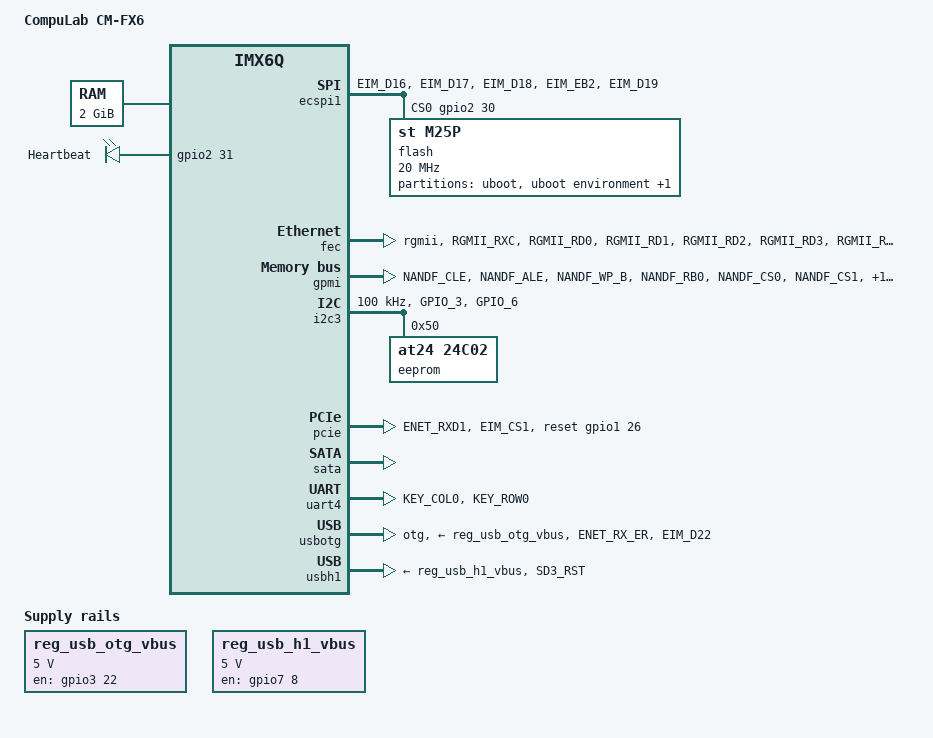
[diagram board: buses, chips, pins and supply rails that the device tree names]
/*
 * Copyright 2013 CompuLab Ltd.
 *
 * Author: Valentin Raevsky <valentin@compulab.co.il>
 *
 * The code contained herein is licensed under the GNU General Public
 * License. You may obtain a copy of the GNU General Public License
 * Version 2 or later at the following locations:
 *
 * http://www.opensource.org/licenses/gpl-license.html
 * http://www.gnu.org/copyleft/gpl.html
 */

/dts-v1/;
#include "imx6q.dtsi"

/ {
	model = "CompuLab CM-FX6";
	compatible = "compulab,cm-fx6", "fsl,imx6q";

	memory {
		reg = <0x10000000 0x80000000>;
	};

	leds {
		compatible = "gpio-leds";

		heartbeat-led {
			label = "Heartbeat";
			gpios = <&gpio2 31 0>;
			linux,default-trigger = "heartbeat";
		};
	};

	regulators {
		compatible = "simple-bus";
		#address-cells = <1>;
		#size-cells = <0>;

		reg_usb_otg_vbus: usb_otg_vbus {
			compatible = "regulator-fixed";
			regulator-name = "usb_otg_vbus";
			regulator-min-microvolt = <5000000>;
			regulator-max-microvolt = <5000000>;
			gpio = <&gpio3 22 0>;
			enable-active-high;
		};

		reg_usb_h1_vbus: usb_h1_vbus {
			compatible = "regulator-fixed";
			regulator-name = "usb_h1_vbus";
			regulator-min-microvolt = <5000000>;
			regulator-max-microvolt = <5000000>;
			gpio = <&gpio7 8 0>;
			enable-active-high;
		};
	};
};

&ecspi1 {
	fsl,spi-num-chipselects = <2>;
	cs-gpios = <&gpio2 30 0>, <&gpio3 19 0>;
	pinctrl-names = "default";
	pinctrl-0 = <&pinctrl_ecspi1>;
	status = "okay";

	flash: m25p80@0 {
		#address-cells = <1>;
		#size-cells = <1>;
		compatible = "st,m25p", "jedec,spi-nor";
		spi-max-frequency = <20000000>;
		reg = <0>;

		partition@0 {
			label = "uboot";
			reg = <0x0 0xc0000>;
		};

		partition@c0000 {
			label = "uboot environment";
			reg = <0xc0000 0x40000>;
		};

		partition@100000 {
			label = "reserved";
			reg = <0x100000 0x100000>;
		};
	};
};

&fec {
	pinctrl-names = "default";
	pinctrl-0 = <&pinctrl_enet>;
	phy-mode = "rgmii";
	status = "okay";
};

&gpmi {
	pinctrl-names = "default";
	pinctrl-0 = <&pinctrl_gpmi_nand>;
	status = "okay";
};

&i2c3 {
	pinctrl-names = "default";
	pinctrl-0 = <&pinctrl_i2c3>;
	status = "okay";
	clock-frequency = <100000>;

	eeprom@50 {
		compatible = "at24,24c02";
		reg = <0x50>;
		pagesize = <16>;
	};
};

&iomuxc {
	imx6q-cm-fx6 {
		pinctrl_ecspi1: ecspi1grp {
			fsl,pins = <
				MX6QDL_PAD_EIM_D16__ECSPI1_SCLK		 0x100b1
				MX6QDL_PAD_EIM_D17__ECSPI1_MISO		 0x100b1
				MX6QDL_PAD_EIM_D18__ECSPI1_MOSI		 0x100b1
				MX6QDL_PAD_EIM_EB2__GPIO2_IO30		0x100b1
				MX6QDL_PAD_EIM_D19__GPIO3_IO19		0x100b1
			>;
		};

		pinctrl_enet: enetgrp {
			fsl,pins = <
				MX6QDL_PAD_RGMII_RXC__RGMII_RXC		0x1b0b0
				MX6QDL_PAD_RGMII_RD0__RGMII_RD0		0x1b0b0
				MX6QDL_PAD_RGMII_RD1__RGMII_RD1		0x1b0b0
				MX6QDL_PAD_RGMII_RD2__RGMII_RD2		0x1b0b0
				MX6QDL_PAD_RGMII_RD3__RGMII_RD3		0x1b0b0
				MX6QDL_PAD_RGMII_RX_CTL__RGMII_RX_CTL	0x1b0b0
				MX6QDL_PAD_RGMII_TXC__RGMII_TXC		0x1b0b0
				MX6QDL_PAD_RGMII_TD0__RGMII_TD0		0x1b0b0
				MX6QDL_PAD_RGMII_TD1__RGMII_TD1		0x1b0b0
				MX6QDL_PAD_RGMII_TD2__RGMII_TD2		0x1b0b0
				MX6QDL_PAD_RGMII_TD3__RGMII_TD3		0x1b0b0
				MX6QDL_PAD_RGMII_TX_CTL__RGMII_TX_CTL	0x1b0b0
				MX6QDL_PAD_ENET_REF_CLK__ENET_TX_CLK	0x1b0b0
				MX6QDL_PAD_ENET_MDIO__ENET_MDIO		0x1b0b0
				MX6QDL_PAD_ENET_MDC__ENET_MDC		0x1b0b0
				MX6QDL_PAD_GPIO_16__ENET_REF_CLK	0x4001b0a8
			>;
		};

		pinctrl_gpmi_nand: gpminandgrp {
			fsl,pins = <
				MX6QDL_PAD_NANDF_CLE__NAND_CLE		0xb0b1
				MX6QDL_PAD_NANDF_ALE__NAND_ALE		0xb0b1
				MX6QDL_PAD_NANDF_WP_B__NAND_WP_B	0xb0b1
				MX6QDL_PAD_NANDF_RB0__NAND_READY_B	0xb000
				MX6QDL_PAD_NANDF_CS0__NAND_CE0_B	0xb0b1
				MX6QDL_PAD_NANDF_CS1__NAND_CE1_B	0xb0b1
				MX6QDL_PAD_SD4_CMD__NAND_RE_B		0xb0b1
				MX6QDL_PAD_SD4_CLK__NAND_WE_B		0xb0b1
				MX6QDL_PAD_NANDF_D0__NAND_DATA00	0xb0b1
				MX6QDL_PAD_NANDF_D1__NAND_DATA01	0xb0b1
				MX6QDL_PAD_NANDF_D2__NAND_DATA02	0xb0b1
				MX6QDL_PAD_NANDF_D3__NAND_DATA03	0xb0b1
				MX6QDL_PAD_NANDF_D4__NAND_DATA04	0xb0b1
				MX6QDL_PAD_NANDF_D5__NAND_DATA05	0xb0b1
				MX6QDL_PAD_NANDF_D6__NAND_DATA06	0xb0b1
				MX6QDL_PAD_NANDF_D7__NAND_DATA07	0xb0b1
				MX6QDL_PAD_SD4_DAT0__NAND_DQS		0x00b1
			>;
		};

		pinctrl_i2c3: i2c3grp {
			fsl,pins = <
				MX6QDL_PAD_GPIO_3__I2C3_SCL 0x4001b8b1
				MX6QDL_PAD_GPIO_6__I2C3_SDA 0x4001b8b1
			>;
		};

		pinctrl_pcie: pciegrp {
			fsl,pins = <
				MX6QDL_PAD_ENET_RXD1__GPIO1_IO26 0x80000000
				MX6QDL_PAD_EIM_CS1__GPIO2_IO24 0x80000000
			>;
		};

		pinctrl_uart4: uart4grp {
			fsl,pins = <
				MX6QDL_PAD_KEY_COL0__UART4_TX_DATA	0x1b0b1
				MX6QDL_PAD_KEY_ROW0__UART4_RX_DATA	0x1b0b1
			>;
		};

		pinctrl_usbh1: usbh1grp {
			fsl,pins = <
				MX6QDL_PAD_SD3_RST__GPIO7_IO08 0x80000000
			>;
		};

		pinctrl_usbotg: usbotggrp {
			fsl,pins = <
				MX6QDL_PAD_ENET_RX_ER__USB_OTG_ID 0x17059
				MX6QDL_PAD_EIM_D22__GPIO3_IO22 0x80000000
			>;
		};
	};
};

&pcie {
	pinctrl-names = "default";
	pinctrl-0 = <&pinctrl_pcie>;
	reset-gpio = <&gpio1 26 0>;
	power-on-gpio = <&gpio2 24 0>;
	status = "okay";
};

&sata {
	status = "okay";
};

&snvs_poweroff {
	status = "okay";
};

&uart4 {
	pinctrl-names = "default";
	pinctrl-0 = <&pinctrl_uart4>;
	status = "okay";
};

&usbotg {
	vbus-supply = <&reg_usb_otg_vbus>;
	pinctrl-names = "default";
	pinctrl-0 = <&pinctrl_usbotg>;
	dr_mode = "otg";
	status = "okay";
};

&usbh1 {
	vbus-supply = <&reg_usb_h1_vbus>;
	pinctrl-names = "default";
	pinctrl-0 = <&pinctrl_usbh1>;
	status = "okay";
};
